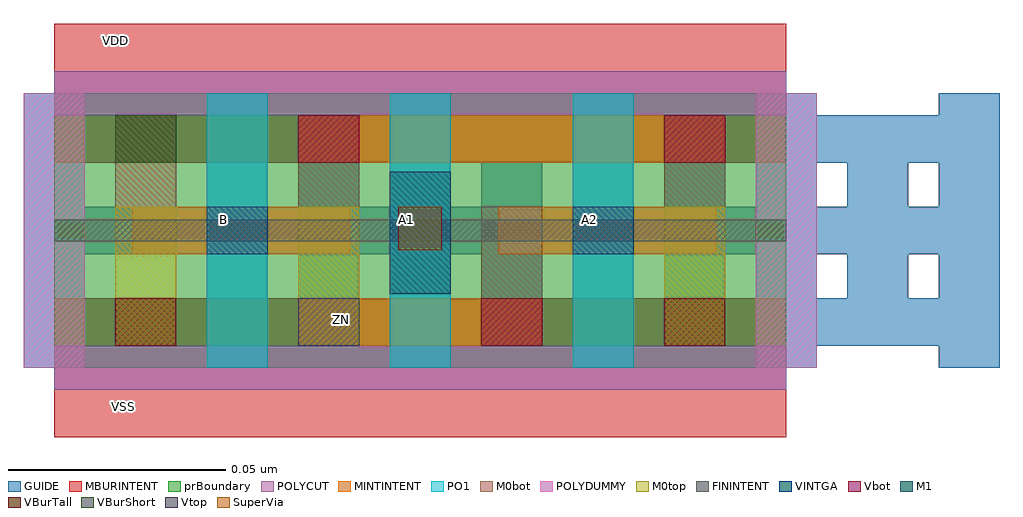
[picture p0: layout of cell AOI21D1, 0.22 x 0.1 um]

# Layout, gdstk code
import gdstk
lib = gdstk.Library(unit=1e-6, precision=1e-09)
def R(c, l, rs):  # rectangles x0, y0, x1, y1
    for r in rs: c.add(gdstk.rectangle(r[:2], r[2:], *l))
def A(c, l, x, y, w, h, nx, ny, dx, dy):  # array of equal rectangles
    R(c, l, [(x+i*dx, y+j*dy, x+i*dx+w, y+j*dy+h) for i in range(nx) for j in range(ny)])
MBURINTENT = (1, 0)
FININTENT = (2, 0)
PO1 = (10, 0)
POLYDUMMY = (11, 0)
POLYCUT = (12, 0)
M0bot = (20, 0)
M0top = (21, 0)
VBurShort = (30, 0)
VBurTall = (31, 0)
Vbot = (40, 0)
Vtop = (41, 0)
VINTGA = (42, 0)
MINTINTENT = (50, 0)
M1 = (61, 0)
SuperVia = (62, 0)
prBoundary = (100, 0)
GUIDE = (200, 0)

aoi21d1 = lib.new_cell('AOI21D1')
R(aoi21d1, MBURINTENT, [(0,-0.016,0.168,0.016), (0,0.047,0.168,0.079)])
R(aoi21d1, FININTENT, [(0,0.029,0.168,0.034)])
A(aoi21d1, PO1, 0.035, 0, 0.014, 0.063, 3, 1, 0.042, 0)
R(aoi21d1, POLYDUMMY, [(-0.007,0,0.007,0.063), (0.161,0,0.175,0.063)])
R(aoi21d1, POLYCUT, [(0,-0.005,0.168,0.005), (0,0.058,0.168,0.068)])
R(aoi21d1, M0bot, [(0.098,0.005,0.112,0.037), (0.014,0.026,0.028,0.058), (0.056,0.026,0.07,0.058), (0.14,0.026,0.154,0.058)])
R(aoi21d1, M0top, [(0.014,0.005,0.028,0.037), (0.056,0.005,0.07,0.037), (0.14,0.005,0.154,0.037)])
R(aoi21d1, VBurShort, [(0.014,0.047,0.028,0.058)])
R(aoi21d1, VBurTall, [(0.014,0.005,0.028,0.016), (0.14,0.005,0.154,0.016)])
R(aoi21d1, Vbot, [(0.098,0.005,0.112,0.016), (0.056,0.047,0.07,0.058), (0.14,0.047,0.154,0.058)])
R(aoi21d1, Vtop, [(0.056,0.005,0.07,0.016)])
R(aoi21d1, VINTGA, [(0.035,0.026,0.049,0.037), (0.035,0.026,0.049,0.037), (0.119,0.026,0.133,0.037)])
R(aoi21d1, MINTINTENT, [(0.056,0.005,0.112,0.016), (0.018,0.026,0.068,0.037), (0.018,0.026,0.068,0.037), (0.102,0.026,0.152,0.037), (0.056,0.047,0.154,0.058)])
R(aoi21d1, M1, [(0.077,0.017,0.091,0.045)])
R(aoi21d1, SuperVia, [(0.079,0.027,0.089,0.037)])
R(aoi21d1, prBoundary, [(0,0,0.168,0.063)])
A(aoi21d1, GUIDE, -0.007, 0, 0.014, 0.063, 6, 1, 0.042, 0)
A(aoi21d1, GUIDE, 0, 0.005, 0.21, 0.011, 1, 3, 0, 0.021)
A(aoi21d1, GUIDE, 0.056, 0.005, 0.014, 0.053, 4, 1, 0.042, 0)
aoi21d1.add(gdstk.Label('VSS', (0.016,-0.009), layer=1, texttype=0))
aoi21d1.add(gdstk.Label('VDD', (0.014,0.075), layer=1, texttype=0))
aoi21d1.add(gdstk.Label('T1', (-0.02,0.052), layer=200, texttype=0))
aoi21d1.add(gdstk.Label('T2', (-0.02,0.031), layer=200, texttype=0))
aoi21d1.add(gdstk.Label('T3', (-0.02,0.01), layer=200, texttype=0))
aoi21d1.add(gdstk.Label('S/D1', (0.021,-0.024), layer=200, texttype=0))
aoi21d1.add(gdstk.Label('S/D2', (0.063,-0.024), layer=200, texttype=0))
aoi21d1.add(gdstk.Label('S/D3', (0.105,-0.024), layer=200, texttype=0))
aoi21d1.add(gdstk.Label('S/D4', (0.147,-0.024), layer=200, texttype=0))
aoi21d1.add(gdstk.Label('S/D5', (0.189,-0.024), layer=200, texttype=0))
aoi21d1.add(gdstk.Label('ZN', (0.066,0.011), layer=50, texttype=0))
aoi21d1.add(gdstk.Label('B', (0.039,0.034), layer=42, texttype=0))
aoi21d1.add(gdstk.Label('B', (0.039,0.034), layer=42, texttype=0))
aoi21d1.add(gdstk.Label('A2', (0.123,0.034), layer=42, texttype=0))
aoi21d1.add(gdstk.Label('A1', (0.081,0.034), layer=62, texttype=0))

lib.write_gds('AOI21D1.gds')
